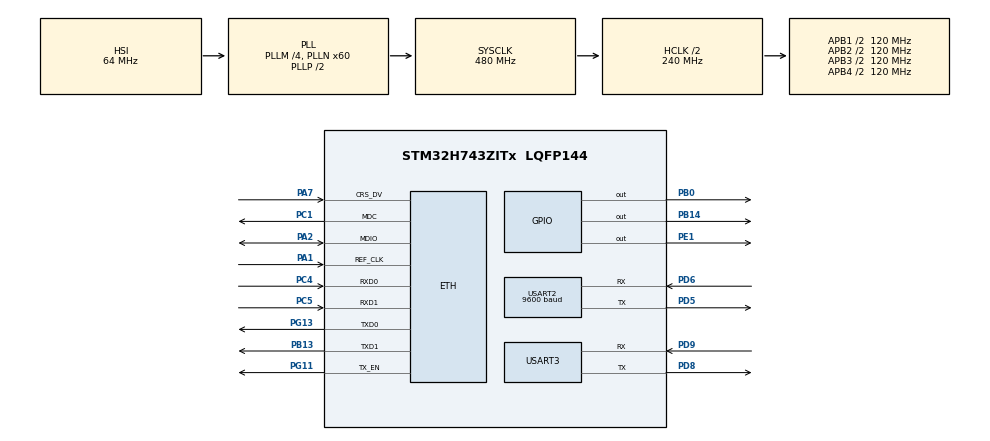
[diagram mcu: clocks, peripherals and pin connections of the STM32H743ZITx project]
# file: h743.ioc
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CORTEX_M7.DisableExec-Cortex_Memory_Protection_Unit_Region0_Settings=MPU_INSTRUCTION_ACCESS_DISABLE
CORTEX_M7.Enable-Cortex_Memory_Protection_Unit_Region0_Settings=MPU_REGION_ENABLE
CORTEX_M7.IsShareable-Cortex_Memory_Protection_Unit_Region0_Settings=MPU_ACCESS_SHAREABLE
CORTEX_M7.MPU_Control=MPU_PRIVILEGED_DEFAULT
CORTEX_M7.Size-Cortex_Memory_Protection_Unit_Region0_Settings=MPU_REGION_SIZE_4GB
CORTEX_M7.SubRegionDisable-Cortex_Memory_Protection_Unit_Region0_Settings=0x87
ETH.MediaInterface=HAL_ETH_RMII_MODE
FREERTOS.Tasks01=defaultTask,24,2048,StartDefaultTask,Default,NULL,Dynamic,NULL,NULL;myTask02,24,512,StartTask02,Default,NULL,Dynamic,NULL,NULL
FREERTOS.configTOTAL_HEAP_SIZE=65536
FREERTOS.configUSE_NEWLIB_REENTRANT=1
Mcu.Family=STM32H7
Mcu.Name=STM32H743ZITx
Mcu.Package=LQFP144
NVIC.ETH_IRQn=true\:5\:0\:false\:false\:false\:true\:true\:false\:true
NVIC.PriorityGroup=NVIC_PRIORITYGROUP_4
NVIC.TIM6_DAC_IRQn=true\:15\:0\:false\:false\:true\:false\:false\:true\:true
NVIC.TimeBase=TIM6_DAC_IRQn
NVIC.TimeBaseIP=TIM6
PA1.Mode=RMII
PA1.Signal=ETH_REF_CLK
PA2.Mode=RMII
PA2.Signal=ETH_MDIO
PA7.Mode=RMII
PA7.Signal=ETH_CRS_DV
PB0.Signal=GPIO_Output
PB13.Mode=RMII
PB13.Signal=ETH_TXD1
PB14.Signal=GPIO_Output
PC1.Mode=RMII
PC1.Signal=ETH_MDC
PC4.Mode=RMII
PC4.Signal=ETH_RXD0
PC5.Mode=RMII
PC5.Signal=ETH_RXD1
PD5.Mode=Asynchronous
PD5.Signal=USART2_TX
PD6.Mode=Asynchronous
PD6.Signal=USART2_RX
PD8.Mode=Asynchronous
PD8.Signal=USART3_TX
PD9.Mode=Asynchronous
PD9.Signal=USART3_RX
PE1.Signal=GPIO_Output
PG11.Mode=RMII
PG11.Signal=ETH_TX_EN
PG13.Mode=RMII
PG13.Signal=ETH_TXD0
ProjectManager.HeapSize=0x200
ProjectManager.StackSize=0x400
ProjectManager.TargetToolchain=STM32CubeIDE
RCC.ADCFreq_Value=129000000
RCC.APB1Freq_Value=120000000
RCC.APB2Freq_Value=120000000
RCC.APB3Freq_Value=120000000
RCC.APB4Freq_Value=120000000
RCC.CortexFreq_Value=480000000
RCC.D1PPRE=RCC_APB3_DIV2
RCC.D2PPRE1=RCC_APB1_DIV2
RCC.D2PPRE2=RCC_APB2_DIV2
RCC.D3PPRE=RCC_APB4_DIV2
RCC.DIVM1=4
RCC.DIVN1=60
RCC.HCLKFreq_Value=240000000
RCC.HPRE=RCC_HCLK_DIV2
RCC.PLL2FRACN=0
RCC.PLL3FRACN=0
RCC.PLLFRACN=0
RCC.SYSCLKFreq_VALUE=480000000
RCC.SYSCLKSource=RCC_SYSCLKSOURCE_PLLCLK
RCC.USBFreq_Value=480000000
USART2.BaudRate=9600
USART2.VirtualMode-Asynchronous=VM_ASYNC
USART3.VirtualMode-Asynchronous=VM_ASYNC
VP_FREERTOS_VS_CMSIS_V2.Mode=CMSIS_V2
VP_MEMORYMAP_VS_MEMORYMAP.Mode=CurAppReg
VP_RNG_VS_RNG.Mode=RNG_Activate
VP_SYS_VS_tim6.Mode=TIM6
board=custom

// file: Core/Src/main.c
/* USER CODE BEGIN Header */
/**
  ******************************************************************************
  * @file           : main.c
  * @brief          : Main program body
  ******************************************************************************
  * @attention
  *
  * Copyright (c) 2024 STMicroelectronics.
  * All rights reserved.
  *
  * This software is licensed under terms that can be found in the LICENSE file
  * in the root directory of this software component.
  * If no LICENSE file comes with this software, it is provided AS-IS.
  *
  ******************************************************************************
  */
/* USER CODE END Header */
#include "main.h"
#include "string.h"
#include "cmsis_os.h"

/* USER CODE BEGIN Includes */
#include "mongoose_glue.h"
/* USER CODE END Includes */

#if defined ( __ICCARM__ ) /*!< IAR Compiler */
#pragma location=0x30000000
ETH_DMADescTypeDef  DMARxDscrTab[ETH_RX_DESC_CNT]; /* Ethernet Rx DMA Descriptors */
#pragma location=0x30000080
ETH_DMADescTypeDef  DMATxDscrTab[ETH_TX_DESC_CNT]; /* Ethernet Tx DMA Descriptors */

#elif defined ( __CC_ARM )  /* MDK ARM Compiler */

__attribute__((at(0x30000000))) ETH_DMADescTypeDef  DMARxDscrTab[ETH_RX_DESC_CNT]; /* Ethernet Rx DMA Descriptors */
__attribute__((at(0x30000080))) ETH_DMADescTypeDef  DMATxDscrTab[ETH_TX_DESC_CNT]; /* Ethernet Tx DMA Descriptors */

#elif defined ( __GNUC__ ) /* GNU Compiler */

ETH_DMADescTypeDef DMARxDscrTab[ETH_RX_DESC_CNT] __attribute__((section(".RxDescripSection"))); /* Ethernet Rx DMA Descriptors */
ETH_DMADescTypeDef DMATxDscrTab[ETH_TX_DESC_CNT] __attribute__((section(".TxDescripSection")));   /* Ethernet Tx DMA Descriptors */
#endif

ETH_TxPacketConfig TxConfig;

ETH_HandleTypeDef heth;

RNG_HandleTypeDef hrng;

UART_HandleTypeDef huart2;
UART_HandleTypeDef huart3;

/* Definitions for defaultTask */
osThreadId_t defaultTaskHandle;
const osThreadAttr_t defaultTask_attributes = {
  .name = "defaultTask",
  .stack_size = 2048 * 4,
  .priority = (osPriority_t) osPriorityNormal,
};
/* Definitions for myTask02 */
osThreadId_t myTask02Handle;
const osThreadAttr_t myTask02_attributes = {
  .name = "myTask02",
  .stack_size = 512 * 4,
  .priority = (osPriority_t) osPriorityNormal,
};

void SystemClock_Config(void);
static void MPU_Config(void);
static void MX_GPIO_Init(void);
static void MX_ETH_Init(void);
static void MX_RNG_Init(void);
static void MX_USART3_UART_Init(void);
static void MX_USART2_UART_Init(void);
void StartDefaultTask(void *argument);
void StartTask02(void *argument);

/* USER CODE BEGIN 0 */
int _write(int fd, unsigned char *buf, int len) {
  if (fd == 1 || fd == 2) {                     // stdout or stderr ?
    HAL_UART_Transmit(&huart3, buf, len, 999);  // Print to the UART
  }
  return len;
}
bool mg_random(void *buf, size_t len) {  // Use on-board RNG
  for (size_t n = 0; n < len; n += sizeof(uint32_t)) {
    uint32_t r;
    HAL_RNG_GenerateRandomNumber(&hrng, &r);
    memcpy((char *) buf + n, &r, n + sizeof(r) > len ? len - n : sizeof(r));
  }
  return true; // TODO(): ensure successful RNG init, then return on false above
}
/* USER CODE END 0 */

int main(void)
{

  /* MPU Configuration--------------------------------------------------------*/
  MPU_Config();

  /* MCU Configuration--------------------------------------------------------*/

  /* Reset of all peripherals, Initializes the Flash interface and the Systick. */
  HAL_Init();

  /* Configure the system clock */
  SystemClock_Config();

  /* Initialize all configured peripherals */
  MX_GPIO_Init();
  MX_ETH_Init();
  MX_RNG_Init();
  MX_USART3_UART_Init();
  MX_USART2_UART_Init();

  /* Init scheduler */
  osKernelInitialize();

  /* Create the thread(s) */
  /* creation of defaultTask */
  defaultTaskHandle = osThreadNew(StartDefaultTask, NULL, &defaultTask_attributes);

  /* creation of myTask02 */
  myTask02Handle = osThreadNew(StartTask02, NULL, &myTask02_attributes);

  /* Start scheduler */
  osKernelStart();

  /* We should never get here as control is now taken by the scheduler */

  /* Infinite loop */
  while (1)
  {

  }
}

void SystemClock_Config(void)
{
  RCC_OscInitTypeDef RCC_OscInitStruct = {0};
  RCC_ClkInitTypeDef RCC_ClkInitStruct = {0};

  /** Supply configuration update enable
  */
  HAL_PWREx_ConfigSupply(PWR_LDO_SUPPLY);

  /** Configure the main internal regulator output voltage
  */
  __HAL_PWR_VOLTAGESCALING_CONFIG(PWR_REGULATOR_VOLTAGE_SCALE0);

  while(!__HAL_PWR_GET_FLAG(PWR_FLAG_VOSRDY)) {}

  /** Initializes the RCC Oscillators according to the specified parameters
  * in the RCC_OscInitTypeDef structure.
  */
  RCC_OscInitStruct.OscillatorType = RCC_OSCILLATORTYPE_HSI48|RCC_OSCILLATORTYPE_HSI;
  RCC_OscInitStruct.HSIState = RCC_HSI_DIV1;
  RCC_OscInitStruct.HSICalibrationValue = RCC_HSICALIBRATION_DEFAULT;
  RCC_OscInitStruct.HSI48State = RCC_HSI48_ON;
  RCC_OscInitStruct.PLL.PLLState = RCC_PLL_ON;
  RCC_OscInitStruct.PLL.PLLSource = RCC_PLLSOURCE_HSI;
  RCC_OscInitStruct.PLL.PLLM = 4;
  RCC_OscInitStruct.PLL.PLLN = 60;
  RCC_OscInitStruct.PLL.PLLP = 2;
  RCC_OscInitStruct.PLL.PLLQ = 2;
  RCC_OscInitStruct.PLL.PLLR = 2;
  RCC_OscInitStruct.PLL.PLLRGE = RCC_PLL1VCIRANGE_3;
  RCC_OscInitStruct.PLL.PLLVCOSEL = RCC_PLL1VCOWIDE;
  RCC_OscInitStruct.PLL.PLLFRACN = 0;
  if (HAL_RCC_OscConfig(&RCC_OscInitStruct) != HAL_OK)
  {
    Error_Handler();
  }

  /** Initializes the CPU, AHB and APB buses clocks
  */
  RCC_ClkInitStruct.ClockType = RCC_CLOCKTYPE_HCLK|RCC_CLOCKTYPE_SYSCLK
                              |RCC_CLOCKTYPE_PCLK1|RCC_CLOCKTYPE_PCLK2
                              |RCC_CLOCKTYPE_D3PCLK1|RCC_CLOCKTYPE_D1PCLK1;
  RCC_ClkInitStruct.SYSCLKSource = RCC_SYSCLKSOURCE_PLLCLK;
  RCC_ClkInitStruct.SYSCLKDivider = RCC_SYSCLK_DIV1;
  RCC_ClkInitStruct.AHBCLKDivider = RCC_HCLK_DIV2;
  RCC_ClkInitStruct.APB3CLKDivider = RCC_APB3_DIV2;
  RCC_ClkInitStruct.APB1CLKDivider = RCC_APB1_DIV2;
  RCC_ClkInitStruct.APB2CLKDivider = RCC_APB2_DIV2;
  RCC_ClkInitStruct.APB4CLKDivider = RCC_APB4_DIV2;

  if (HAL_RCC_ClockConfig(&RCC_ClkInitStruct, FLASH_LATENCY_4) != HAL_OK)
  {
    Error_Handler();
  }
}

static void MX_ETH_Init(void)
{

   static uint8_t MACAddr[6];

  heth.Instance = ETH;
  MACAddr[0] = 0x00;
  MACAddr[1] = 0x80;
  MACAddr[2] = 0xE1;
  MACAddr[3] = 0x00;
  MACAddr[4] = 0x00;
  MACAddr[5] = 0x00;
  heth.Init.MACAddr = &MACAddr[0];
  heth.Init.MediaInterface = HAL_ETH_RMII_MODE;
  heth.Init.TxDesc = DMATxDscrTab;
  heth.Init.RxDesc = DMARxDscrTab;
  heth.Init.RxBuffLen = 1536;

  if (HAL_ETH_Init(&heth) != HAL_OK)
  {
    Error_Handler();
  }

  memset(&TxConfig, 0 , sizeof(ETH_TxPacketConfig));
  TxConfig.Attributes = ETH_TX_PACKETS_FEATURES_CSUM | ETH_TX_PACKETS_FEATURES_CRCPAD;
  TxConfig.ChecksumCtrl = ETH_CHECKSUM_IPHDR_PAYLOAD_INSERT_PHDR_CALC;
  TxConfig.CRCPadCtrl = ETH_CRC_PAD_INSERT;

}

static void MX_RNG_Init(void)
{

  hrng.Instance = RNG;
  hrng.Init.ClockErrorDetection = RNG_CED_ENABLE;
  if (HAL_RNG_Init(&hrng) != HAL_OK)
  {
    Error_Handler();
  }

}

static void MX_USART2_UART_Init(void)
{

  huart2.Instance = USART2;
  huart2.Init.BaudRate = 9600;
  huart2.Init.WordLength = UART_WORDLENGTH_8B;
  huart2.Init.StopBits = UART_STOPBITS_1;
  huart2.Init.Parity = UART_PARITY_NONE;
  huart2.Init.Mode = UART_MODE_TX_RX;
  huart2.Init.HwFlowCtl = UART_HWCONTROL_NONE;
  huart2.Init.OverSampling = UART_OVERSAMPLING_16;
  huart2.Init.OneBitSampling = UART_ONE_BIT_SAMPLE_DISABLE;
  huart2.Init.ClockPrescaler = UART_PRESCALER_DIV1;
  huart2.AdvancedInit.AdvFeatureInit = UART_ADVFEATURE_NO_INIT;
  if (HAL_UART_Init(&huart2) != HAL_OK)
  {
    Error_Handler();
  }
  if (HAL_UARTEx_SetTxFifoThreshold(&huart2, UART_TXFIFO_THRESHOLD_1_8) != HAL_OK)
  {
    Error_Handler();
  }
  if (HAL_UARTEx_SetRxFifoThreshold(&huart2, UART_RXFIFO_THRESHOLD_1_8) != HAL_OK)
  {
    Error_Handler();
  }
  if (HAL_UARTEx_DisableFifoMode(&huart2) != HAL_OK)
  {
    Error_Handler();
  }

}

static void MX_USART3_UART_Init(void)
{

  huart3.Instance = USART3;
  huart3.Init.BaudRate = 115200;
  huart3.Init.WordLength = UART_WORDLENGTH_8B;
  huart3.Init.StopBits = UART_STOPBITS_1;
  huart3.Init.Parity = UART_PARITY_NONE;
  huart3.Init.Mode = UART_MODE_TX_RX;
  huart3.Init.HwFlowCtl = UART_HWCONTROL_NONE;
  huart3.Init.OverSampling = UART_OVERSAMPLING_16;
  huart3.Init.OneBitSampling = UART_ONE_BIT_SAMPLE_DISABLE;
  huart3.Init.ClockPrescaler = UART_PRESCALER_DIV1;
  huart3.AdvancedInit.AdvFeatureInit = UART_ADVFEATURE_NO_INIT;
  if (HAL_UART_Init(&huart3) != HAL_OK)
  {
    Error_Handler();
  }
  if (HAL_UARTEx_SetTxFifoThreshold(&huart3, UART_TXFIFO_THRESHOLD_1_8) != HAL_OK)
  {
    Error_Handler();
  }
  if (HAL_UARTEx_SetRxFifoThreshold(&huart3, UART_RXFIFO_THRESHOLD_1_8) != HAL_OK)
  {
    Error_Handler();
  }
  if (HAL_UARTEx_DisableFifoMode(&huart3) != HAL_OK)
  {
    Error_Handler();
  }

}

static void MX_GPIO_Init(void)
{
  GPIO_InitTypeDef GPIO_InitStruct = {0};

  /* GPIO Ports Clock Enable */
  __HAL_RCC_GPIOC_CLK_ENABLE();
  __HAL_RCC_GPIOA_CLK_ENABLE();
  __HAL_RCC_GPIOB_CLK_ENABLE();
  __HAL_RCC_GPIOD_CLK_ENABLE();
  __HAL_RCC_GPIOG_CLK_ENABLE();
  __HAL_RCC_GPIOE_CLK_ENABLE();

  /*Configure GPIO pin Output Level */
  HAL_GPIO_WritePin(GPIOB, GPIO_PIN_0|GPIO_PIN_14, GPIO_PIN_RESET);

  /*Configure GPIO pin Output Level */
  HAL_GPIO_WritePin(GPIOE, GPIO_PIN_1, GPIO_PIN_RESET);

  /*Configure GPIO pins : PB0 PB14 */
  GPIO_InitStruct.Pin = GPIO_PIN_0|GPIO_PIN_14;
  GPIO_InitStruct.Mode = GPIO_MODE_OUTPUT_PP;
  GPIO_InitStruct.Pull = GPIO_NOPULL;
  GPIO_InitStruct.Speed = GPIO_SPEED_FREQ_LOW;
  HAL_GPIO_Init(GPIOB, &GPIO_InitStruct);

  /*Configure GPIO pin : PE1 */
  GPIO_InitStruct.Pin = GPIO_PIN_1;
  GPIO_InitStruct.Mode = GPIO_MODE_OUTPUT_PP;
  GPIO_InitStruct.Pull = GPIO_NOPULL;
  GPIO_InitStruct.Speed = GPIO_SPEED_FREQ_LOW;
  HAL_GPIO_Init(GPIOE, &GPIO_InitStruct);

}

/* USER CODE BEGIN 4 */
#if 0
  #define USE_RS485 1
#endif

#ifdef USE_RS485
  /* Change these to your actual GPIO port/pin used for DE/RE */
  #define RS485_DIR_PORT  GPIOA
  #define RS485_DIR_PIN   GPIO_PIN_1
  static inline void rs485_set_tx(void) { HAL_GPIO_WritePin(RS485_DIR_PORT, RS485_DIR_PIN, GPIO_PIN_SET); }
  static inline void rs485_set_rx(void) { HAL_GPIO_WritePin(RS485_DIR_PORT, RS485_DIR_PIN, GPIO_PIN_RESET); }
#else
  static inline void rs485_set_tx(void) {}
  static inline void rs485_set_rx(void) {}
#endif

#define PZEM_SLAVE  0x01
#define PZEM_UART   (&huart2)

/* Modbus CRC16 (0xA001) */
uint16_t Modbus_CRC16(const uint8_t *buf, uint16_t len) {
    uint16_t crc = 0xFFFF;
    for (uint16_t pos = 0; pos < len; pos++) {
        crc ^= (uint16_t)buf[pos];
        for (int i = 0; i < 8; i++) {
            if (crc & 0x0001) crc = (crc >> 1) ^ 0xA001;
            else crc >>= 1;
        }
    }
    return crc;
}

static int pzem_read_registers(uint16_t start, uint16_t num, uint8_t *resp, uint16_t maxlen, uint32_t timeout_ms) {
    uint8_t req[8];
    req[0] = PZEM_SLAVE;
    req[1] = 0x04;
    req[2] = (start >> 8) & 0xFF;
    req[3] = start & 0xFF;
    req[4] = (num >> 8) & 0xFF;
    req[5] = num & 0xFF;
    uint16_t crc = Modbus_CRC16(req, 6);
    req[6] = crc & 0xFF;       /* CRC low */
    req[7] = (crc >> 8) & 0xFF;/* CRC high */

    /* If RS485, drive DE high before sending */
    rs485_set_tx();

    if (HAL_UART_Transmit(PZEM_UART, req, sizeof(req), HAL_MAX_DELAY) != HAL_OK) {
        rs485_set_rx();
        return 0;
    }

    /* Ensure last byte really transmitted before switching to RX */
    /* Wait for TC flag - ensures transmission completed on many STM32 UARTs */
    while (__HAL_UART_GET_FLAG(PZEM_UART, UART_FLAG_TC) == RESET) { /* spin */ }
    /* small settle delay */
    HAL_Delay(1);

    /* Switch back to RX */
    rs485_set_rx();

    /* Expected response length:
       Slave(1) + Func(1) + ByteCount(1) + 2*num + CRC(2) = 5 + 2*num
    */
    uint16_t expected = 5 + 2 * num;
    if (expected > maxlen) return 0;

    /* Blocking receive: adjust timeout as needed */
    if (HAL_UART_Receive(PZEM_UART, resp, expected, timeout_ms) != HAL_OK) {
        return 0;
    }

    /* validate CRC */
    uint16_t got_crc = (uint16_t)resp[expected - 1] << 8 | resp[expected - 2];
    uint16_t calc_crc = Modbus_CRC16(resp, expected - 2);
    if (got_crc != calc_crc) {
    	printf("CRC mismatch: got 0x%04X calc 0x%04X\r\n", got_crc, calc_crc);
        return 0;
    }

    /* basic function code check */
    if (resp[1] & 0x80) {
    	printf("Modbus exception: 0x%02X\r\n", resp[2]);
        return 0;
    }
    if (resp[1] != 0x04) {
    	printf("Unexpected function 0x%02X\r\n", resp[1]);
        return 0;
    }

    return expected;
}

/* PZEM data container */
typedef struct {
    float voltage;    /* V */
    float current;    /* A */
    float power;      /* W */
    uint32_t energy;  /* Wh */
    float frequency;  /* Hz */
    float pf;         /* power factor (0..1) */
    uint16_t alarm;   /* 0x0000 = no alarm, 0xFFFF = alarm */
} pzem_data_t;

int pzem_read_all(pzem_data_t *out) {
    uint8_t resp[32];
    int rx = pzem_read_registers(0x0000, 10, resp, sizeof(resp), 500);
    if (!rx) return 0;

    /* resp format: [SL][FC=0x04][BYTECNT=20][D0][D1]...[D19][CRCL][CRCH] */
    uint8_t bytecnt = resp[2];
    if (bytecnt < 20) return 0; /* we asked for 10 regs => 20 bytes */

    /* parse 16-bit registers into an array regs[0..9] */
    uint16_t regs[10];
    for (int i = 0; i < 10; i++) {
        regs[i] = (uint16_t)resp[3 + 2*i] << 8 | (uint16_t)resp[3 + 2*i + 1];
    }

    /* Conversion as per datasheet:
       regs[0] : voltage (1 LSB = 0.1 V)
       regs[1] : current low 16 bits
       regs[2] : current high 16 bits  (1 LSB overall = 0.001 A)
       regs[3] : power low
       regs[4] : power high             (1 LSB overall = 0.1 W)
       regs[5] : energy low (Wh)
       regs[6] : energy high
       regs[7] : frequency (1 LSB = 0.1 Hz)
       regs[8] : power factor (1 LSB = 0.01)
       regs[9] : alarm status (0x0000 no alarm, 0xFFFF alarm)
    */
    out->voltage = (float)regs[0] / 10.0f;

    uint32_t current_raw = ((uint32_t)regs[2] << 16) | regs[1]; /* high<<16 | low */
    out->current = (float)current_raw / 1000.0f; /* 1 LSB = 0.001 A */

    uint32_t power_raw = ((uint32_t)regs[4] << 16) | regs[3];
    out->power = (float)power_raw / 10.0f; /* 1 LSB = 0.1 W */

    uint32_t energy_raw = ((uint32_t)regs[6] << 16) | regs[5];
    out->energy = energy_raw; /* 1 LSB = 1 Wh */

    out->frequency = (float)regs[7] / 10.0f; /* 0.1 Hz */
    out->pf = (float)regs[8] / 100.0f;       /* 0.01 -> e.g. 100 -> 1.00 */
    out->alarm = regs[9];

    return 1;
}

char json_buf[256];

const char *pzem_to_json(const pzem_data_t *d) {
    snprintf(json_buf, sizeof(json_buf),
        "{"
        "\"voltage\":%.1f,"
        "\"current\":%.3f,"
        "\"power\":%.1f,"
        "\"energy\":%lu,"
        "\"frequency\":%.1f,"
        "\"pf\":%.2f,"
        "\"alarm\":%u"
        "}",
        d->voltage,
        d->current,
        d->power,
        (unsigned long)d->energy,
        d->frequency,
        d->pf,
        d->alarm
    );
    return json_buf;
}
/* USER CODE END 4 */

void StartDefaultTask(void *argument)
{
  /* USER CODE BEGIN 5 */
  mongoose_init();
  for (;;) {
    mongoose_poll();
  }
  /* Infinite loop */
  for(;;)
  {
    osDelay(1);
  }
  /* USER CODE END 5 */
}

void StartTask02(void *argument)
{
  /* USER CODE BEGIN StartTask02 */
  /* Infinite loop */
  osDelay(10000);
  for(;;)
  {

	 static uint32_t last_ms = 0;
	 if (HAL_GetTick() - last_ms > 5000) {
		 last_ms = HAL_GetTick();
		 pzem_data_t data;
//			data.voltage = 230.4;
//			data.current = 1.2;
//			data.power = 290;
//			data.energy = 1;
//			data.frequency = 49.5;
//			data.pf = 0.9;
//			data.alarm = 0XFF;
		 if (pzem_read_all(&data)) {
			 const char *json = pzem_to_json(&data);
			 printf("Publishing: %s\n\n", json);

			 // Publish to broker
#if 1
			 if (g_mqtt_conn != NULL) {
				struct mg_mqtt_opts opts;        // Publish MQTT response
				memset(&opts, 0, sizeof(opts));  // to the TX topic
				opts.topic = mg_str("KiteGenDemo/PowerParams");
				opts.message = mg_str(json);
			    mg_mqtt_pub(g_mqtt_conn, &opts);
			 }
#endif
		 } else {
			 printf("PZEM read failed\n");
		 }
	 }
  }
  /* USER CODE END StartTask02 */
}

 /* MPU Configuration */

void MPU_Config(void)
{
  MPU_Region_InitTypeDef MPU_InitStruct = {0};

  /* Disables the MPU */
  HAL_MPU_Disable();

  /** Initializes and configures the Region and the memory to be protected
  */
  MPU_InitStruct.Enable = MPU_REGION_ENABLE;
  MPU_InitStruct.Number = MPU_REGION_NUMBER0;
  MPU_InitStruct.BaseAddress = 0x0;
  MPU_InitStruct.Size = MPU_REGION_SIZE_4GB;
  MPU_InitStruct.SubRegionDisable = 0x87;
  MPU_InitStruct.TypeExtField = MPU_TEX_LEVEL0;
  MPU_InitStruct.AccessPermission = MPU_REGION_NO_ACCESS;
  MPU_InitStruct.DisableExec = MPU_INSTRUCTION_ACCESS_DISABLE;
  MPU_InitStruct.IsShareable = MPU_ACCESS_SHAREABLE;
  MPU_InitStruct.IsCacheable = MPU_ACCESS_NOT_CACHEABLE;
  MPU_InitStruct.IsBufferable = MPU_ACCESS_NOT_BUFFERABLE;

  HAL_MPU_ConfigRegion(&MPU_InitStruct);
  /* Enables the MPU */
  HAL_MPU_Enable(MPU_PRIVILEGED_DEFAULT);

}

void HAL_TIM_PeriodElapsedCallback(TIM_HandleTypeDef *htim)
{
  if (htim->Instance == TIM6)
  {
    HAL_IncTick();
  }
}

void Error_Handler(void)
{
  __disable_irq();
  while (1)
  {
  }
}
